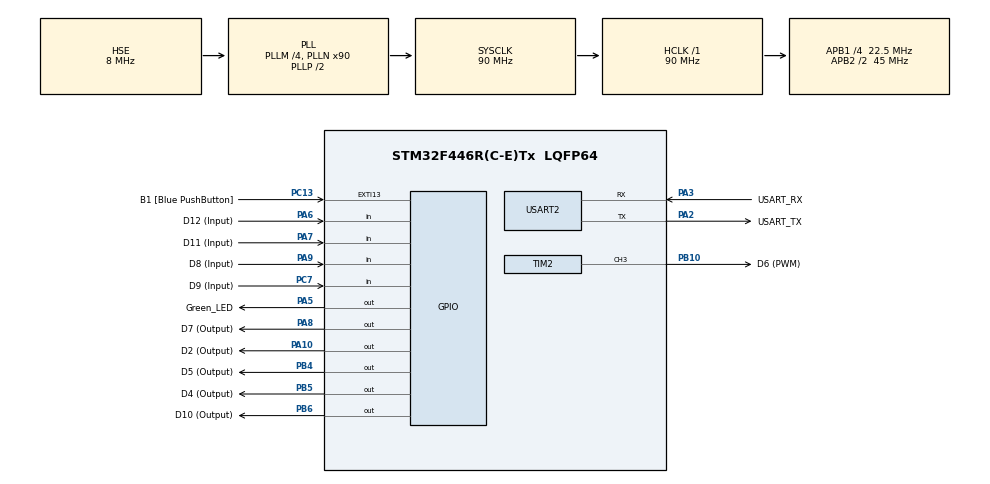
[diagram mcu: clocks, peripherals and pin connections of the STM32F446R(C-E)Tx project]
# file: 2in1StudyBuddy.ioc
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Mcu.Family=STM32F4
Mcu.Name=STM32F446R(C-E)Tx
Mcu.Package=LQFP64
NVIC.PriorityGroup=NVIC_PRIORITYGROUP_0
PA0-WKUP.Signal=S_TIM2_CH1_ETR
PA10.GPIO_Label=D2 (Output)
PA10.Signal=GPIO_Output
PA13.GPIO_Label=TMS
PA13.Mode=Serial_Wire
PA13.Signal=SYS_JTMS-SWDIO
PA14.GPIO_Label=TCK
PA14.Mode=Serial_Wire
PA14.Signal=SYS_JTCK-SWCLK
PA2.GPIO_Label=USART_TX
PA2.Mode=Asynchronous
PA2.Signal=USART2_TX
PA3.GPIO_Label=USART_RX
PA3.Mode=Asynchronous
PA3.Signal=USART2_RX
PA5.GPIO_Label=Green_LED
PA5.Signal=GPIO_Output
PA6.GPIO_Label=D12 (Input)
PA6.GPIO_PuPd=GPIO_PULLDOWN
PA6.Signal=GPIO_Input
PA7.GPIO_Label=D11 (Input)
PA7.GPIO_PuPd=GPIO_PULLDOWN
PA7.Signal=GPIO_Input
PA8.GPIO_Label=D7 (Output)
PA8.Signal=GPIO_Output
PA9.GPIO_Label=D8 (Input)
PA9.GPIO_PuPd=GPIO_PULLDOWN
PA9.Signal=GPIO_Input
PB10.GPIO_Label=D6 (PWM)
PB10.Signal=S_TIM2_CH3
PB3.GPIO_Label=SWO
PB3.Signal=SYS_JTDO-SWO
PB4.GPIO_Label=D5 (Output)
PB4.Signal=GPIO_Output
PB5.GPIO_Label=D4 (Output)
PB5.Signal=GPIO_Output
PB6.GPIO_Label=D10 (Output)
PB6.Signal=GPIO_Output
PC13.GPIO_Label=B1 [Blue PushButton]
PC13.GPIO_ModeDefaultEXTI=GPIO_MODE_IT_FALLING
PC13.Signal=GPXTI13
PC14-OSC32_IN.Mode=LSE-External-Oscillator
PC14-OSC32_IN.Signal=RCC_OSC32_IN
PC15-OSC32_OUT.Mode=LSE-External-Oscillator
PC15-OSC32_OUT.Signal=RCC_OSC32_OUT
PC7.GPIO_Label=D9 (Input)
PC7.GPIO_PuPd=GPIO_PULLDOWN
PC7.Signal=GPIO_Input
PH0-OSC_IN.Mode=HSE-External-Oscillator
PH0-OSC_IN.Signal=RCC_OSC_IN
PH1-OSC_OUT.Mode=HSE-External-Oscillator
PH1-OSC_OUT.Signal=RCC_OSC_OUT
ProjectManager.HeapSize=0x200
ProjectManager.StackSize=0x400
ProjectManager.TargetToolchain=STM32CubeIDE
RCC.48MHZClocksFreq_Value=84000000
RCC.AHBFreq_Value=90000000
RCC.APB1CLKDivider=RCC_HCLK_DIV4
RCC.APB1Freq_Value=22500000
RCC.APB1TimFreq_Value=45000000
RCC.APB2CLKDivider=RCC_HCLK_DIV2
RCC.APB2Freq_Value=45000000
RCC.APB2TimFreq_Value=90000000
RCC.CortexFreq_Value=90000000
RCC.FLatency-AdvancedSettings=FLASH_LATENCY_2
RCC.HCLKFreq_Value=90000000
RCC.HSE_VALUE=8000000
RCC.HSI_VALUE=16000000
RCC.PLLM=4
RCC.PLLN=90
RCC.PLLSourceVirtual=RCC_PLLSOURCE_HSE
RCC.RCC_RTC_Clock_SourceVirtual=RCC_RTCCLKSOURCE_LSE
RCC.SYSCLKFreq_VALUE=90000000
RCC.SYSCLKSource=RCC_SYSCLKSOURCE_PLLCLK
RCC.USBFreq_Value=90000000
RCC.VCOOutputFreq_Value=180000000
RTC.Alarm=RTC_ALARM_A
RTC.Format=RTC_FORMAT_BIN
SH.S_TIM2_CH1_ETR.0=TIM2_CH1
SH.S_TIM2_CH3.0=TIM2_CH3,PWM Generation3 CH3
TIM2.Channel-PWM\ Generation3\ CH3=TIM_CHANNEL_3
TIM2.Period=1000-1
TIM2.Prescaler=900-1
USART2.VirtualMode=VM_ASYNC
VP_RTC_VS_RTC_Activate.Mode=RTC_Enabled
VP_RTC_VS_RTC_Alarm_A_Intern.Mode=Alarm A
VP_RTC_VS_RTC_Calendar.Mode=RTC_Calendar
VP_RTC_VS_RTC_WakeUp_intern.Mode=WakeUp
VP_TIM2_VS_ClockSourceINT.Mode=Internal
board=NUCLEO-F446RE

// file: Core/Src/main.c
/* USER CODE BEGIN Header */
/**
******************************************************************************
* @file           : main.c
* @brief          : Main program body
******************************************************************************
* @attention
*
* Copyright (c) 2025 STMicroelectronics.
* All rights reserved.
*
* This software is licensed under terms that can be found in the LICENSE file
* in the root directory of this software component.
* If no LICENSE file comes with this software, it is provided AS-IS.
*
******************************************************************************
*/
/* USER CODE END Header */
#include "main.h"

/* USER CODE BEGIN Includes */
#include <stdio.h>
//#include "stm32f4xx_hal_rtc.h"
/* USER CODE END Includes */

RTC_HandleTypeDef hrtc;

TIM_HandleTypeDef htim2;

UART_HandleTypeDef huart2;

/* USER CODE BEGIN PV */
GPIO_PinState timeUpButton;
GPIO_PinState timeDownButton;
GPIO_PinState correctButton;
GPIO_PinState incorrectButton;

int correctCounter = 0;

typedef struct LEDPin_struct {
	GPIO_TypeDef* Port;
	uint16_t Pin;

} LEDPin;

uint8_t turnedOff = 0;

LEDPin LEDPinArray[4];
int currentLED = 0;

int timeInput = 0;

int prevTime = 0;
int timeOffset;
/* USER CODE END PV */

void SystemClock_Config(void);
static void MX_GPIO_Init(void);
static void MX_USART2_UART_Init(void);
static void MX_RTC_Init(void);
static void MX_TIM2_Init(void);
/* USER CODE BEGIN PFP */

//Time things
//void set_time(void);
int getTime();
void getTimeOffsetSec(int *prevTime, int *timeOffset);
/* USER CODE END PFP */

/* USER CODE BEGIN 0 */
#ifdef __GNUC__
#define PUTCHAR_PROTOTYPE int __io_putchar(int ch)
#else
#define PUTCHAR_PROTOTYPE int fputc(int ch, FILE *f)
#endif
//time function declarations
/*void set_time(void){
	RTC_TimeTypeDef sTime = {0};
	//RTC_TimeTypeDef sDate;
	sTime.Hours = 0;
	sTime.Minutes = 0;
	sTime.Seconds = 0;
	  sTime.DayLightSaving = RTC_DAYLIGHTSAVING_NONE;
	  sTime.StoreOperation = RTC_STOREOPERATION_RESET;
	  if (HAL_RTC_SetTime(&hrtc, &sTime, RTC_FORMAT_BCD) != HAL_OK)
	  {
	    Error_Handler();
	  }
	  //sDate.WeekDay = RTC_WEEKDAY_MONDAY;
	  //sDate.Month = RTC_MONTH_JANUARY;
	  //sDate.Date = 0x1;
	  //sDate.Year = 0x0;
	  if (HAL_RTC_SetDate(&hrtc, &sDate, RTC_FORMAT_BCD) != HAL_OK)
	  {
	    Error_Handler();
	  }
}*/
int getTime()
{
	RTC_TimeTypeDef gTime;
	RTC_DateTypeDef gDate;
	//This places the time data into gTime
	HAL_RTC_GetTime(&hrtc, &gTime, RTC_FORMAT_BIN);
	//This print requires a delay (5ms works)
	HAL_Delay(5);
	printf("\rTime: %02d:%02d:%02d\r\n", gTime.Hours, gTime.Minutes, gTime.Seconds);
	// *time = gTime.Seconds;
	//even though we don't need date, the time doesn't update without getting the date
	HAL_RTC_GetDate(&hrtc, &gDate, RTC_FORMAT_BIN);
	return gTime.Seconds;
}

void getTimeOffsetSec(int *prevTime, int *timeOffset){
	int currentTime = getTime();
	*timeOffset = currentTime - *prevTime;

	if(*timeOffset < 0){
		*timeOffset = 60 - *prevTime;
	}
}
/* USER CODE END 0 */

int main(void)
{

  /* MCU Configuration--------------------------------------------------------*/

  /* Reset of all peripherals, Initializes the Flash interface and the Systick. */
  HAL_Init();

  /* USER CODE BEGIN Init */
  // from left to right LED
  LEDPin D7LED;
  D7LED.Port = GPIOA;
  D7LED.Pin = D7_Pin;

  LEDPin D2LED;
  D2LED.Port = GPIOA;
  D2LED.Pin = D2_Pin;

  LEDPin D4LED;
  D4LED.Port = GPIOB;
  D4LED.Pin = D4_Pin;

  LEDPin D10LED;
  D10LED.Port = GPIOB;
  D10LED.Pin = D10_Pin;

  LEDPinArray[0] = D7LED;
  LEDPinArray[1] = D2LED;
  LEDPinArray[2] = D4LED;
  LEDPinArray[3] = D10LED;

  /* USER CODE END Init */

  /* Configure the system clock */
  SystemClock_Config();

  /* USER CODE BEGIN SysInit */
// huart2.Instance = USARTx; used for print
huart2.Init.BaudRate = 115200;
// huart2.Init.WordLength = UART_WORDLENGTH_88; used for print
huart2.Init.StopBits = UART_STOPBITS_1;
huart2.Init.Parity = UART_PARITY_ODD;
huart2.Init.HwFlowCtl = UART_HWCONTROL_NONE;
huart2.Init.Mode = UART_MODE_TX_RX;
huart2.Init.OverSampling = UART_OVERSAMPLING_16;
//call set time to initialize time
//set_time is breaking things
//printf("setting time\r\n");
//set_time();
//printf("done setting time\r\n");
/* if(HAL_UART_INIT(&huart2) != HAL_OK) {
	  Error_Handler();
} */
  /* USER CODE END SysInit */

  /* Initialize all configured peripherals */
  MX_GPIO_Init();
  MX_USART2_UART_Init();
  MX_RTC_Init();
  MX_TIM2_Init();

  /* USER CODE BEGIN WHILE */
while (1 == 1)
{
	  /*stateOfButton = HAL_GPIO_ReadPin(GPIOC, D9_Pin);
	  HAL_GPIO_WritePin(GPIOA, D7_Pin, stateOfButton);
	  HAL_GPIO_WritePin(GPIOB, D5_Pin, stateOfButton);
	  HAL_GPIO_WritePin(GPIOA, D2_Pin, stateOfButton); */
	  //printf("getting time\n\r");
	  //currentTime = getTime();
	  //time offset example
	  //built-in led will blink for a duration of 2 sec every 15 sec
	  //at new minute it messes up because goes over (last time was 45) new time is 0.
	  //timeOffset = currentTime - endTime;
	  //fix time offset
	  //if(timeOffset < 0){HAL_GPIO_WritePin(GPIOA, D7_Pin, 1);
		 // timeOffset = 60 - endTime;
	  //}

	 // getTimeOffsetSec(&prevTime, &timeOffset);
	  //printf("%d\r\n", timeOffset);

	 //turn on LEDs

	 timeUpButton = HAL_GPIO_ReadPin(GPIOA, D8_Pin);
	 timeDownButton = HAL_GPIO_ReadPin(GPIOC, D9_Pin);
	 correctButton = HAL_GPIO_ReadPin(GPIOA, D11_Pin);
	 incorrectButton = HAL_GPIO_ReadPin(GPIOA, D12_Pin);

	 if (timeUpButton == 1) {
		 htim2.Instance->CCR3 = 75; // set servo to 90 degrees

		 prevTime = getTime();

		 timeInput += 15;

		 ++currentLED;
		 HAL_GPIO_WritePin(LEDPinArray[currentLED].Port, LEDPinArray[currentLED].Pin, 1);

		 if (currentLED > 3) {
			 currentLED = 3;
		 }
		 if (timeInput > 60) {
		 	timeInput = 60;
		 }

		 HAL_Delay(200);
	 }

	 if (timeDownButton == 1) {
		 prevTime = getTime();

		 timeInput -= 15;
		 HAL_GPIO_WritePin(LEDPinArray[currentLED].Port, LEDPinArray[currentLED].Pin, 0);
		 --currentLED;

		 if (currentLED <= 0) {
		 		currentLED = -1;
		 }
		 if (timeInput < 0) {
		 	 timeInput = 0;
		 }
	 	 HAL_Delay(200);
	 }

	getTimeOffsetSec(&prevTime, &timeOffset);
	if ( (timeOffset == 15 || timeOffset == 30 || timeOffset == 45 || timeOffset == 60) && (turnedOff == 0) ) {
		HAL_GPIO_WritePin(LEDPinArray[currentLED].Port, LEDPinArray[currentLED].Pin, 0);
		--currentLED;
		if (currentLED < 0) {
			currentLED = 0;
		}

		turnedOff = 1; // flag to ensure that the if statement only runs for the current LED once.
	}

	if ( (timeOffset == 14 || timeOffset == 29 || timeOffset == 44 || timeOffset == 59) && (turnedOff == 1) ) {
			turnedOff = 0; // reset the flag when not at the specified timeframes
		}

	if (correctButton == 1) {
		++correctCounter;
		HAL_Delay(200);
	}

	if (correctCounter == 4 ) {

		timeInput -= 15;
		HAL_GPIO_WritePin(LEDPinArray[currentLED].Port, LEDPinArray[currentLED].Pin, 0);
		--currentLED;

		if (currentLED < 0) {
			currentLED = 0;
		}

		correctCounter = 0;

	}

	if (incorrectButton == 1) {
		correctCounter = 0;
		HAL_Delay(200);
	}

	if ( HAL_GPIO_ReadPin(LEDPinArray[0].Port, LEDPinArray[0].Pin) == 0) {
		correctCounter = 0;
		currentLED = -1;
		timeInput = 0;
		htim2.Instance->CCR3 = 25; // set servo to 0 degrees
	}

	printf("\r%d %d\n", correctCounter, currentLED);

	//

    /* USER CODE END WHILE */

}
}

void SystemClock_Config(void)
{
  RCC_OscInitTypeDef RCC_OscInitStruct = {0};
  RCC_ClkInitTypeDef RCC_ClkInitStruct = {0};

  /** Configure the main internal regulator output voltage
  */
  __HAL_RCC_PWR_CLK_ENABLE();
  __HAL_PWR_VOLTAGESCALING_CONFIG(PWR_REGULATOR_VOLTAGE_SCALE3);

  /** Initializes the RCC Oscillators according to the specified parameters
  * in the RCC_OscInitTypeDef structure.
  */
  RCC_OscInitStruct.OscillatorType = RCC_OSCILLATORTYPE_HSE|RCC_OSCILLATORTYPE_LSE;
  RCC_OscInitStruct.HSEState = RCC_HSE_ON;
  RCC_OscInitStruct.LSEState = RCC_LSE_ON;
  RCC_OscInitStruct.PLL.PLLState = RCC_PLL_ON;
  RCC_OscInitStruct.PLL.PLLSource = RCC_PLLSOURCE_HSE;
  RCC_OscInitStruct.PLL.PLLM = 4;
  RCC_OscInitStruct.PLL.PLLN = 90;
  RCC_OscInitStruct.PLL.PLLP = RCC_PLLP_DIV2;
  RCC_OscInitStruct.PLL.PLLQ = 2;
  RCC_OscInitStruct.PLL.PLLR = 2;
  if (HAL_RCC_OscConfig(&RCC_OscInitStruct) != HAL_OK)
  {
    Error_Handler();
  }

  /** Initializes the CPU, AHB and APB buses clocks
  */
  RCC_ClkInitStruct.ClockType = RCC_CLOCKTYPE_HCLK|RCC_CLOCKTYPE_SYSCLK
                              |RCC_CLOCKTYPE_PCLK1|RCC_CLOCKTYPE_PCLK2;
  RCC_ClkInitStruct.SYSCLKSource = RCC_SYSCLKSOURCE_PLLCLK;
  RCC_ClkInitStruct.AHBCLKDivider = RCC_SYSCLK_DIV1;
  RCC_ClkInitStruct.APB1CLKDivider = RCC_HCLK_DIV4;
  RCC_ClkInitStruct.APB2CLKDivider = RCC_HCLK_DIV2;

  if (HAL_RCC_ClockConfig(&RCC_ClkInitStruct, FLASH_LATENCY_2) != HAL_OK)
  {
    Error_Handler();
  }
}

static void MX_RTC_Init(void)
{

  RTC_TimeTypeDef sTime = {0};
  RTC_DateTypeDef sDate = {0};
  RTC_AlarmTypeDef sAlarm = {0};

  /** Initialize RTC Only
  */
  hrtc.Instance = RTC;
  hrtc.Init.HourFormat = RTC_HOURFORMAT_24;
  hrtc.Init.AsynchPrediv = 127;
  hrtc.Init.SynchPrediv = 255;
  hrtc.Init.OutPut = RTC_OUTPUT_DISABLE;
  hrtc.Init.OutPutPolarity = RTC_OUTPUT_POLARITY_HIGH;
  hrtc.Init.OutPutType = RTC_OUTPUT_TYPE_OPENDRAIN;
  if (HAL_RTC_Init(&hrtc) != HAL_OK)
  {
    Error_Handler();
  }

  /** Initialize RTC and set the Time and Date
  */
  sTime.Hours = 0;
  sTime.Minutes = 0;
  sTime.Seconds = 0;
  sTime.DayLightSaving = RTC_DAYLIGHTSAVING_NONE;
  sTime.StoreOperation = RTC_STOREOPERATION_RESET;
  if (HAL_RTC_SetTime(&hrtc, &sTime, RTC_FORMAT_BIN) != HAL_OK)
  {
    Error_Handler();
  }
  sDate.WeekDay = RTC_WEEKDAY_MONDAY;
  sDate.Month = RTC_MONTH_JANUARY;
  sDate.Date = 1;
  sDate.Year = 0;

  if (HAL_RTC_SetDate(&hrtc, &sDate, RTC_FORMAT_BIN) != HAL_OK)
  {
    Error_Handler();
  }

  /** Enable the Alarm A
  */
  sAlarm.AlarmTime.Hours = 0;
  sAlarm.AlarmTime.Minutes = 0;
  sAlarm.AlarmTime.Seconds = 0;
  sAlarm.AlarmTime.SubSeconds = 0;
  sAlarm.AlarmTime.DayLightSaving = RTC_DAYLIGHTSAVING_NONE;
  sAlarm.AlarmTime.StoreOperation = RTC_STOREOPERATION_RESET;
  sAlarm.AlarmMask = RTC_ALARMMASK_NONE;
  sAlarm.AlarmSubSecondMask = RTC_ALARMSUBSECONDMASK_ALL;
  sAlarm.AlarmDateWeekDaySel = RTC_ALARMDATEWEEKDAYSEL_DATE;
  sAlarm.AlarmDateWeekDay = 1;
  sAlarm.Alarm = RTC_ALARM_A;
  if (HAL_RTC_SetAlarm(&hrtc, &sAlarm, RTC_FORMAT_BIN) != HAL_OK)
  {
    Error_Handler();
  }

  /** Enable the WakeUp
  */
  if (HAL_RTCEx_SetWakeUpTimer(&hrtc, 0, RTC_WAKEUPCLOCK_RTCCLK_DIV16) != HAL_OK)
  {
    Error_Handler();
  }

}

static void MX_TIM2_Init(void)
{

  TIM_ClockConfigTypeDef sClockSourceConfig = {0};
  TIM_MasterConfigTypeDef sMasterConfig = {0};
  TIM_OC_InitTypeDef sConfigOC = {0};

  htim2.Instance = TIM2;
  htim2.Init.Prescaler = 900-1;
  htim2.Init.CounterMode = TIM_COUNTERMODE_UP;
  htim2.Init.Period = 1000-1;
  htim2.Init.ClockDivision = TIM_CLOCKDIVISION_DIV1;
  htim2.Init.AutoReloadPreload = TIM_AUTORELOAD_PRELOAD_DISABLE;
  if (HAL_TIM_Base_Init(&htim2) != HAL_OK)
  {
    Error_Handler();
  }
  sClockSourceConfig.ClockSource = TIM_CLOCKSOURCE_INTERNAL;
  if (HAL_TIM_ConfigClockSource(&htim2, &sClockSourceConfig) != HAL_OK)
  {
    Error_Handler();
  }
  if (HAL_TIM_PWM_Init(&htim2) != HAL_OK)
  {
    Error_Handler();
  }
  sMasterConfig.MasterOutputTrigger = TIM_TRGO_RESET;
  sMasterConfig.MasterSlaveMode = TIM_MASTERSLAVEMODE_DISABLE;
  if (HAL_TIMEx_MasterConfigSynchronization(&htim2, &sMasterConfig) != HAL_OK)
  {
    Error_Handler();
  }
  sConfigOC.OCMode = TIM_OCMODE_PWM1;
  sConfigOC.Pulse = 0;
  sConfigOC.OCPolarity = TIM_OCPOLARITY_HIGH;
  sConfigOC.OCFastMode = TIM_OCFAST_DISABLE;
  if (HAL_TIM_PWM_ConfigChannel(&htim2, &sConfigOC, TIM_CHANNEL_3) != HAL_OK)
  {
    Error_Handler();
  }
  /* USER CODE BEGIN TIM2_Init 2 */
  HAL_TIM_PWM_Start(&htim2, TIM_CHANNEL_3);

  /* USER CODE END TIM2_Init 2 */
  HAL_TIM_MspPostInit(&htim2);

}

static void MX_USART2_UART_Init(void)
{

  huart2.Instance = USART2;
  huart2.Init.BaudRate = 115200;
  huart2.Init.WordLength = UART_WORDLENGTH_8B;
  huart2.Init.StopBits = UART_STOPBITS_1;
  huart2.Init.Parity = UART_PARITY_NONE;
  huart2.Init.Mode = UART_MODE_TX_RX;
  huart2.Init.HwFlowCtl = UART_HWCONTROL_NONE;
  huart2.Init.OverSampling = UART_OVERSAMPLING_16;
  if (HAL_UART_Init(&huart2) != HAL_OK)
  {
    Error_Handler();
  }

}

static void MX_GPIO_Init(void)
{
  GPIO_InitTypeDef GPIO_InitStruct = {0};

  /* GPIO Ports Clock Enable */
  __HAL_RCC_GPIOC_CLK_ENABLE();
  __HAL_RCC_GPIOH_CLK_ENABLE();
  __HAL_RCC_GPIOA_CLK_ENABLE();
  __HAL_RCC_GPIOB_CLK_ENABLE();

  /*Configure GPIO pin Output Level */
  HAL_GPIO_WritePin(GPIOA, Green_LED_Pin|D7_Pin|D2_Pin, GPIO_PIN_RESET);

  /*Configure GPIO pin Output Level */
  HAL_GPIO_WritePin(GPIOB, D5_Pin|D4_Pin|D10_Pin, GPIO_PIN_RESET);

  /*Configure GPIO pin : B1_Pin */
  GPIO_InitStruct.Pin = B1_Pin;
  GPIO_InitStruct.Mode = GPIO_MODE_IT_FALLING;
  GPIO_InitStruct.Pull = GPIO_NOPULL;
  HAL_GPIO_Init(B1_GPIO_Port, &GPIO_InitStruct);

  /*Configure GPIO pins : Green_LED_Pin D7_Pin D2_Pin */
  GPIO_InitStruct.Pin = Green_LED_Pin|D7_Pin|D2_Pin;
  GPIO_InitStruct.Mode = GPIO_MODE_OUTPUT_PP;
  GPIO_InitStruct.Pull = GPIO_NOPULL;
  GPIO_InitStruct.Speed = GPIO_SPEED_FREQ_LOW;
  HAL_GPIO_Init(GPIOA, &GPIO_InitStruct);

  /*Configure GPIO pins : D12_Pin D11_Pin D8_Pin */
  GPIO_InitStruct.Pin = D12_Pin|D11_Pin|D8_Pin;
  GPIO_InitStruct.Mode = GPIO_MODE_INPUT;
  GPIO_InitStruct.Pull = GPIO_PULLDOWN;
  HAL_GPIO_Init(GPIOA, &GPIO_InitStruct);

  /*Configure GPIO pin : D9_Pin */
  GPIO_InitStruct.Pin = D9_Pin;
  GPIO_InitStruct.Mode = GPIO_MODE_INPUT;
  GPIO_InitStruct.Pull = GPIO_PULLDOWN;
  HAL_GPIO_Init(D9_GPIO_Port, &GPIO_InitStruct);

  /*Configure GPIO pins : D5_Pin D4_Pin D10_Pin */
  GPIO_InitStruct.Pin = D5_Pin|D4_Pin|D10_Pin;
  GPIO_InitStruct.Mode = GPIO_MODE_OUTPUT_PP;
  GPIO_InitStruct.Pull = GPIO_NOPULL;
  GPIO_InitStruct.Speed = GPIO_SPEED_FREQ_LOW;
  HAL_GPIO_Init(GPIOB, &GPIO_InitStruct);

}

/* USER CODE BEGIN 4 */
PUTCHAR_PROTOTYPE
{
	HAL_UART_Transmit(&huart2, (uint8_t *)&ch, 1, 0xFFFF);
	return ch;
}
/* USER CODE END 4 */

void Error_Handler(void)
{
  /* USER CODE BEGIN Error_Handler_Debug */
/* User can add his own implementation to report the HAL error return state */
__disable_irq();
while (1 == 1)
{
}
  /* USER CODE END Error_Handler_Debug */
}
